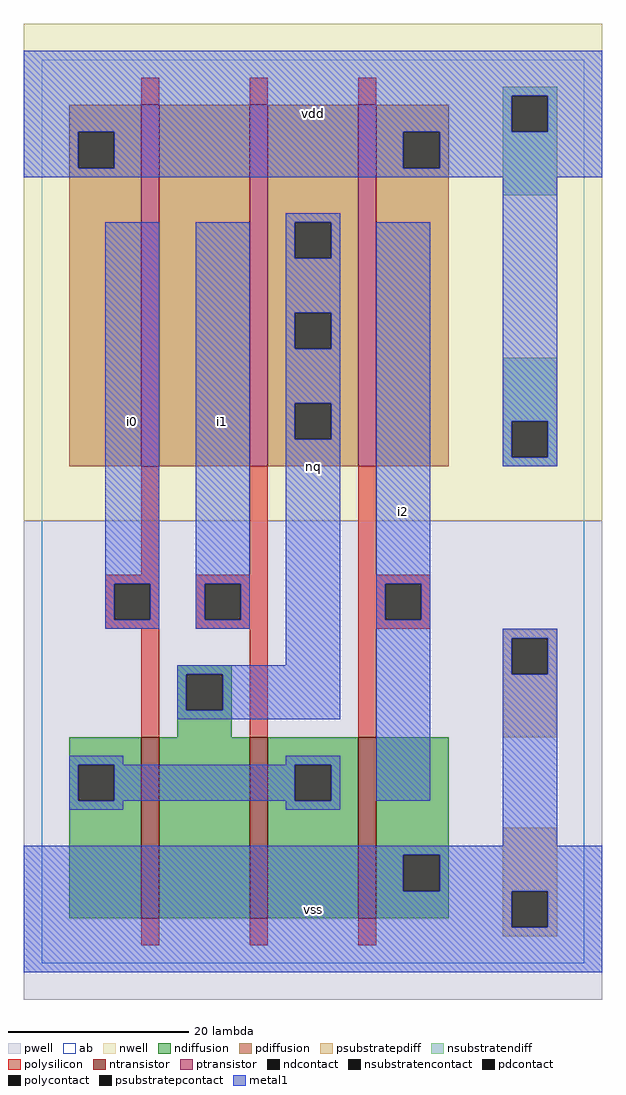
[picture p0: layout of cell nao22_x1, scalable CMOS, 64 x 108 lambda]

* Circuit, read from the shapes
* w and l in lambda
.subckt nao22_x1 i0 i1 i2 nq vdd vss
M1 nq i0 n1 vss nfet w=20 l=2
M2 n1 i1 nq vss nfet w=20 l=2
M3 vss i2 n1 vss nfet w=20 l=2
M4 n2 i0 vdd vdd pfet w=40 l=2
M5 nq i1 n2 vdd pfet w=40 l=2
M6 vdd i2 nq vdd pfet w=40 l=2
.ends

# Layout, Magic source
magic
tech scmos
<< ab >>
rect 0 0 60 100
<< pwell >>
rect -2 -4 62 49
<< nwell >>
rect -2 49 62 104
<< polysilicon >>
rect 11 95 13 98
rect 23 95 25 98
rect 35 95 37 98
rect 11 43 13 55
rect 23 43 25 55
rect 7 42 13 43
rect 7 38 8 42
rect 12 38 13 42
rect 7 37 13 38
rect 17 42 25 43
rect 17 38 18 42
rect 22 38 25 42
rect 17 37 25 38
rect 11 25 13 37
rect 23 25 25 37
rect 35 43 37 55
rect 35 42 43 43
rect 35 38 38 42
rect 42 38 43 42
rect 35 37 43 38
rect 35 25 37 37
rect 11 2 13 5
rect 23 2 25 5
rect 35 2 37 5
<< ndiffusion >>
rect 15 32 21 33
rect 15 28 16 32
rect 20 28 21 32
rect 15 25 21 28
rect 3 22 11 25
rect 3 18 4 22
rect 8 18 11 22
rect 3 5 11 18
rect 13 5 23 25
rect 25 22 35 25
rect 25 18 28 22
rect 32 18 35 22
rect 25 5 35 18
rect 37 12 45 25
rect 37 8 40 12
rect 44 8 45 12
rect 37 5 45 8
<< pdiffusion >>
rect 3 92 11 95
rect 3 88 4 92
rect 8 88 11 92
rect 3 55 11 88
rect 13 55 23 95
rect 25 82 35 95
rect 25 78 28 82
rect 32 78 35 82
rect 25 72 35 78
rect 25 68 28 72
rect 32 68 35 72
rect 25 62 35 68
rect 25 58 28 62
rect 32 58 35 62
rect 25 55 35 58
rect 37 92 45 95
rect 37 88 40 92
rect 44 88 45 92
rect 37 55 45 88
<< metal1 >>
rect -2 96 62 101
rect -2 92 52 96
rect 56 92 62 96
rect -2 88 4 92
rect 8 88 40 92
rect 44 88 62 92
rect -2 87 62 88
rect 27 82 33 83
rect 7 42 13 82
rect 7 38 8 42
rect 12 38 13 42
rect 7 37 13 38
rect 17 42 23 82
rect 17 38 18 42
rect 22 38 23 42
rect 17 37 23 38
rect 27 78 28 82
rect 32 78 33 82
rect 27 72 33 78
rect 27 68 28 72
rect 32 68 33 72
rect 27 62 33 68
rect 27 58 28 62
rect 32 58 33 62
rect 27 33 33 58
rect 15 32 33 33
rect 15 28 16 32
rect 20 28 33 32
rect 15 27 33 28
rect 37 42 43 82
rect 51 60 57 87
rect 51 56 52 60
rect 56 56 57 60
rect 51 55 57 56
rect 37 38 38 42
rect 42 38 43 42
rect 3 22 9 23
rect 27 22 33 23
rect 3 18 4 22
rect 8 18 28 22
rect 32 18 33 22
rect 37 18 43 38
rect 51 36 57 37
rect 51 32 52 36
rect 56 32 57 36
rect 3 17 9 18
rect 27 17 33 18
rect 51 13 57 32
rect -2 12 62 13
rect -2 8 40 12
rect 44 8 62 12
rect -2 4 52 8
rect 56 4 62 8
rect -2 -1 62 4
<< ntransistor >>
rect 11 5 13 25
rect 23 5 25 25
rect 35 5 37 25
<< ptransistor >>
rect 11 55 13 95
rect 23 55 25 95
rect 35 55 37 95
<< polycontact >>
rect 8 38 12 42
rect 18 38 22 42
rect 38 38 42 42
<< ndcontact >>
rect 16 28 20 32
rect 4 18 8 22
rect 28 18 32 22
rect 40 8 44 12
<< pdcontact >>
rect 4 88 8 92
rect 28 78 32 82
rect 28 68 32 72
rect 28 58 32 62
rect 40 88 44 92
<< psubstratepcontact >>
rect 52 32 56 36
rect 52 4 56 8
<< nsubstratencontact >>
rect 52 92 56 96
rect 52 56 56 60
<< psubstratepdiff >>
rect 51 36 57 37
rect 51 32 52 36
rect 56 32 57 36
rect 51 25 57 32
rect 51 8 57 15
rect 51 4 52 8
rect 56 4 57 8
rect 51 3 57 4
<< nsubstratendiff >>
rect 51 96 57 97
rect 51 92 52 96
rect 56 92 57 96
rect 51 85 57 92
rect 51 60 57 67
rect 51 56 52 60
rect 56 56 57 60
rect 51 55 57 56
<< labels >>
rlabel metal1 10 60 10 60 6 i0
rlabel metal1 10 60 10 60 6 i0
rlabel metal1 20 60 20 60 6 i1
rlabel metal1 20 60 20 60 6 i1
rlabel metal1 30 6 30 6 6 vss
rlabel metal1 30 6 30 6 6 vss
rlabel metal1 40 50 40 50 6 i2
rlabel metal1 40 50 40 50 6 i2
rlabel metal1 30 55 30 55 6 nq
rlabel metal1 30 55 30 55 6 nq
rlabel metal1 30 94 30 94 6 vdd
rlabel metal1 30 94 30 94 6 vdd
<< end >>
